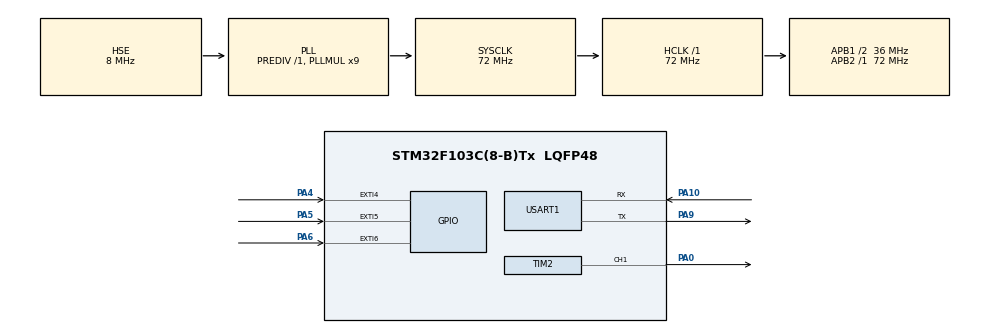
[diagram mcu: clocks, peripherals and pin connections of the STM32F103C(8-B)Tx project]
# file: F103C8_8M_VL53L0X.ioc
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Mcu.Family=STM32F1
Mcu.Name=STM32F103C(8-B)Tx
Mcu.Package=LQFP48
NVIC.EXTI4_IRQn=true\:0\:0\:false\:false\:true\:true\:true
NVIC.EXTI9_5_IRQn=true\:0\:0\:false\:false\:true\:true\:true
NVIC.PriorityGroup=NVIC_PRIORITYGROUP_4
NVIC.USART1_IRQn=true\:0\:0\:false\:false\:true\:true\:true
PA0-WKUP.Signal=S_TIM2_CH1_ETR
PA10.Mode=Asynchronous
PA10.Signal=USART1_RX
PA13.Mode=Serial_Wire
PA13.Signal=SYS_JTMS-SWDIO
PA14.Mode=Serial_Wire
PA14.Signal=SYS_JTCK-SWCLK
PA4.GPIO_ModeDefaultEXTI=GPIO_MODE_IT_RISING_FALLING
PA4.GPIO_PuPd=GPIO_PULLUP
PA4.Signal=GPXTI4
PA5.GPIO_ModeDefaultEXTI=GPIO_MODE_IT_RISING_FALLING
PA5.GPIO_PuPd=GPIO_PULLUP
PA5.Signal=GPXTI5
PA6.GPIO_ModeDefaultEXTI=GPIO_MODE_IT_RISING_FALLING
PA6.GPIO_PuPd=GPIO_PULLUP
PA6.Signal=GPXTI6
PA9.Mode=Asynchronous
PA9.Signal=USART1_TX
PC14-OSC32_IN.Mode=LSE-External-Oscillator
PC14-OSC32_IN.Signal=RCC_OSC32_IN
PC15-OSC32_OUT.Mode=LSE-External-Oscillator
PC15-OSC32_OUT.Signal=RCC_OSC32_OUT
PD0-OSC_IN.Mode=HSE-External-Oscillator
PD0-OSC_IN.Signal=RCC_OSC_IN
PD1-OSC_OUT.Mode=HSE-External-Oscillator
PD1-OSC_OUT.Signal=RCC_OSC_OUT
ProjectManager.HeapSize=0x200
ProjectManager.StackSize=0x400
ProjectManager.TargetToolchain=MDK-ARM V5.27
RCC.AHBFreq_Value=72000000
RCC.APB1CLKDivider=RCC_HCLK_DIV2
RCC.APB1Freq_Value=36000000
RCC.APB1TimFreq_Value=72000000
RCC.APB2Freq_Value=72000000
RCC.APB2TimFreq_Value=72000000
RCC.HCLKFreq_Value=72000000
RCC.PLLMUL=RCC_PLL_MUL9
RCC.PLLSourceVirtual=RCC_PLLSOURCE_HSE
RCC.SYSCLKFreq_VALUE=72000000
RCC.SYSCLKSource=RCC_SYSCLKSOURCE_PLLCLK
RCC.USBFreq_Value=72000000
SH.S_TIM2_CH1_ETR.0=TIM2_CH1,PWM Generation1 CH1
TIM2.AutoReloadPreload=TIM_AUTORELOAD_PRELOAD_ENABLE
TIM2.Channel-PWM\ Generation1\ CH1=TIM_CHANNEL_1
TIM2.ClockDivision=TIM_CLOCKDIVISION_DIV1
TIM2.Period=999
TIM2.Prescaler=57599
TIM2.Pulse-PWM\ Generation1\ CH1=50
USART1.VirtualMode=VM_ASYNC
board=custom

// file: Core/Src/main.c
/* USER CODE BEGIN Header */
/**
  ******************************************************************************
  * @file           : main.c
  * @brief          : Main program body
  ******************************************************************************
  * @attention
  *
  * <h2><center>&copy; Copyright (c) 2021 STMicroelectronics.
  * All rights reserved.</center></h2>
  *
  * This software component is licensed by ST under BSD 3-Clause license,
  * the "License"; You may not use this file except in compliance with the
  * License. You may obtain a copy of the License at:
  *                        opensource.org/licenses/BSD-3-Clause
  *
  ******************************************************************************
  */
/* USER CODE END Header */
#include "main.h"
#include "tim.h"
#include "usart.h"
#include "gpio.h"

/* USER CODE BEGIN Includes */
#include "DELAY/delay.h"
#include "OLED/oled.h"
#include "VL53L0X/myvl53l0x.h"
#include "USART/myusart1.h"
/* USER CODE END Includes */

/* USER CODE BEGIN PD */
#define KEY_DOWN_PIN GPIO_PIN_4
#define KEY_OK_PIN GPIO_PIN_5
#define KEY_UP_PIN GPIO_PIN_6
#define KEY_DOWN 4
#define KEY_OK 5
#define KEY_UP 6
#define KEY_MIN 4
/* USER CODE END PD */

/* USER CODE BEGIN PV */
uint32_t extiCounter[3] = {0};
int32_t threshold = 1000;
int32_t newThresh = 1000;
/* USER CODE END PV */

void SystemClock_Config(void);

/* USER CODE BEGIN 0 */
void LED_Init()
{
  GPIO_InitTypeDef G;

  __HAL_RCC_GPIOB_CLK_ENABLE();
  HAL_GPIO_WritePin(GPIOB, GPIO_PIN_2, GPIO_PIN_RESET);
  G.Pin = GPIO_PIN_2;
  G.Mode = GPIO_MODE_OUTPUT_PP;
  G.Pull = GPIO_NOPULL;
  G.Speed = GPIO_SPEED_FREQ_HIGH;
  HAL_GPIO_Init(GPIOB, &G);
}

// only vaild when the original OCmode is PWM1(OC1M=3'b110)
void TIM_SetOutput(TIM_HandleTypeDef* htim, uint8_t state)
{
  if(state)
    htim->Instance->CCMR1 |= TIM_CCMR1_OC1M_1;
  else
    htim->Instance->CCMR1 &= ~TIM_CCMR1_OC1M_1;
}
/* USER CODE END 0 */

int main(void)
{
  /* USER CODE BEGIN 1 */
  char str[32];
  int32_t val;
  /* USER CODE END 1 */

  /* MCU Configuration--------------------------------------------------------*/

  /* Reset of all peripherals, Initializes the Flash interface and the Systick. */
  HAL_Init();

  /* Configure the system clock */
  SystemClock_Config();

  /* Initialize all configured peripherals */
  MX_GPIO_Init();
  MX_USART1_UART_Init();
  MX_TIM2_Init();
  /* USER CODE BEGIN 2 */

  Delay_Init(72);
  MyUSART1_Init(&huart1);
  OLED_Init();
  LED_Init();
  HAL_TIM_PWM_Init(&htim2);
  HAL_TIM_PWM_Start(&htim2, TIM_CHANNEL_1);
  TIM_SetOutput(&htim2, 0);

  Delay_ms(20);
  OLED_ShowStr(0,0,"VL53L0X");
  MyVL53L0X_Init(0x29);
  val=MyVL53L0X_SetSenseMode(VL53L0X_SENSE_LONG_RANGE);
  if(val)
  {
    OLED_ShowStr(0,0,"Inited!");
    TIM_SetOutput(&htim2, 1);
    Delay_ms(1000);
    TIM_SetOutput(&htim2, 0);
    OLED_CLS();
    OLED_SetTextSize(TEXTSIZE_BIG);
    OLED_ShowStr(0,0, "Dist: ");
    OLED_ShowStr(0,2, "Thre: ");
    OLED_ShowStr(0,4, "New: ");
  }
  else
  {
    OLED_ShowStr(0,0,"Failed to boot!");
  }
  /* USER CODE END 2 */

  /* Infinite loop */
  while (1)
  {

    /* USER CODE BEGIN 3 */
    Delay_ms(100);

    val = MyVL53L0X_GetDistance();
    if(val < threshold)
    {
      HAL_GPIO_WritePin(GPIOB, GPIO_PIN_2, GPIO_PIN_SET);
      TIM_SetOutput(&htim2, 1);
    }
    else
    {
      HAL_GPIO_WritePin(GPIOB, GPIO_PIN_2, GPIO_PIN_RESET);
      TIM_SetOutput(&htim2, 0);
    }
    __HAL_TIM_SetAutoreload(&htim2, (val/100+1)*100);
    myitoa(val,str,10);
    OLED_ShowStr(6*8,0,str);
    OLED_ShowStr(OLED_cursorX,OLED_cursorY,"    ");

    val = threshold;
    myitoa(val,str,10);
    OLED_ShowStr(6*8,2,str);
    OLED_ShowStr(OLED_cursorX,OLED_cursorY,"    ");

    val = newThresh;
    myitoa(val,str,10);
    OLED_ShowStr(5*8,4,str);
    OLED_ShowStr(OLED_cursorX,OLED_cursorY,"    ");

  }
  /* USER CODE END 3 */
}

void SystemClock_Config(void)
{
  RCC_OscInitTypeDef RCC_OscInitStruct = {0};
  RCC_ClkInitTypeDef RCC_ClkInitStruct = {0};

  /** Initializes the RCC Oscillators according to the specified parameters
  * in the RCC_OscInitTypeDef structure.
  */
  RCC_OscInitStruct.OscillatorType = RCC_OSCILLATORTYPE_HSE;
  RCC_OscInitStruct.HSEState = RCC_HSE_ON;
  RCC_OscInitStruct.HSEPredivValue = RCC_HSE_PREDIV_DIV1;
  RCC_OscInitStruct.HSIState = RCC_HSI_ON;
  RCC_OscInitStruct.PLL.PLLState = RCC_PLL_ON;
  RCC_OscInitStruct.PLL.PLLSource = RCC_PLLSOURCE_HSE;
  RCC_OscInitStruct.PLL.PLLMUL = RCC_PLL_MUL9;
  if (HAL_RCC_OscConfig(&RCC_OscInitStruct) != HAL_OK)
  {
    Error_Handler();
  }
  /** Initializes the CPU, AHB and APB buses clocks
  */
  RCC_ClkInitStruct.ClockType = RCC_CLOCKTYPE_HCLK|RCC_CLOCKTYPE_SYSCLK
                              |RCC_CLOCKTYPE_PCLK1|RCC_CLOCKTYPE_PCLK2;
  RCC_ClkInitStruct.SYSCLKSource = RCC_SYSCLKSOURCE_PLLCLK;
  RCC_ClkInitStruct.AHBCLKDivider = RCC_SYSCLK_DIV1;
  RCC_ClkInitStruct.APB1CLKDivider = RCC_HCLK_DIV2;
  RCC_ClkInitStruct.APB2CLKDivider = RCC_HCLK_DIV1;

  if (HAL_RCC_ClockConfig(&RCC_ClkInitStruct, FLASH_LATENCY_2) != HAL_OK)
  {
    Error_Handler();
  }
}

/* USER CODE BEGIN 4 */
void KeyHandler(uint8_t GPIO_id)
{
  if(GPIO_id == KEY_UP && newThresh < 2000)
    newThresh += 100;
  else if(GPIO_id == KEY_DOWN && newThresh > 100)
    newThresh -= 100;
  else if(GPIO_id == KEY_OK)
    threshold = newThresh;
}

void HAL_GPIO_EXTI_Callback(uint16_t GPIO_Pin)
{
  uint8_t GPIO_id;
  uint32_t ticks;
  if(GPIO_Pin == KEY_UP_PIN)
    GPIO_id = KEY_UP;
  else if(GPIO_Pin == KEY_OK_PIN)
    GPIO_id = KEY_OK;
  else if(GPIO_Pin == KEY_DOWN_PIN)
    GPIO_id = KEY_DOWN;
  if(HAL_GPIO_ReadPin(GPIOA, GPIO_Pin) == GPIO_PIN_RESET) // negedge, pressed
  {
    extiCounter[GPIO_id - KEY_MIN] = HAL_GetTick();
  }
  else // posedge, released
  {
    ticks = HAL_GetTick();
    if(ticks < extiCounter[GPIO_id - KEY_MIN])
      ticks = ((uint64_t)0xFFFFFFFF + ticks - extiCounter[GPIO_id - KEY_MIN]);
    else
      ticks -= extiCounter[GPIO_id - KEY_MIN];

    if(ticks < 20) // prevent jitter
      return;

    KeyHandler(GPIO_id);
  }
}
/* USER CODE END 4 */

void Error_Handler(void)
{
  __disable_irq();
  while (1)
  {
  }
}

/************************ (C) COPYRIGHT STMicroelectronics *****END OF FILE****/
